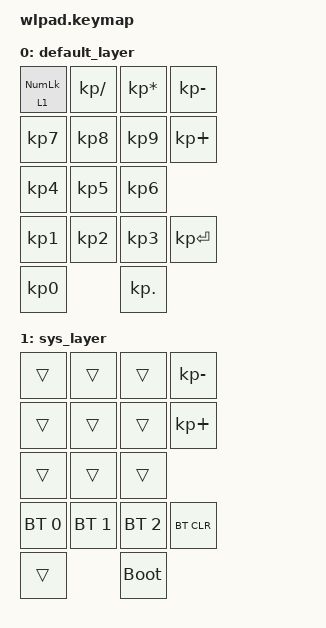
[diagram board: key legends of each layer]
/*
 * Copyright (c) 2022 The ZMK Contributors
 *
 * SPDX-License-Identifier: MIT
 */

#include <behaviors.dtsi>
#include <dt-bindings/zmk/keys.h>
#include <dt-bindings/zmk/bt.h>
#include <dt-bindings/zmk/outputs.h>

/ {
	keymap {
		compatible = "zmk,keymap";

		default_layer {
// ---------------------------------
// | NmLk  | /     | *     | -     |
// | 7     | 8     | 9     | +     |
// | 4     | 5     | 6     |       |
// | 1     | 2     | 3     | ENTER |
// | 0             | .     |       |

			bindings = <
    &lt 1 KP_NUM            &kp KP_DIVIDE    &kp KP_MULTIPLY    &kp KP_MINUS
    &kp KP_N7               &kp KP_N8        &kp KP_N9          &kp KP_PLUS
    &kp KP_N4               &kp KP_N5        &kp KP_N6
    &kp KP_N1               &kp KP_N2        &kp KP_N3          &kp KP_ENTER
    &kp KP_N0                                &kp KP_DOT
			>;
		};

		sys_layer {
// ---------------------------------
// | NmLk  |       |       |       |
// |       |       |       |       |
// |       |       |       |       |
// | BT 0  | BT 1  | BT 2  | CLEAR |
// |               | boot  |       |

			bindings = <
    &trans                  &trans           &trans             &kp KP_MINUS
    &trans                  &trans           &trans             &kp KP_PLUS
    &trans                  &trans           &trans
    &bt BT_SEL 0            &bt BT_SEL 1     &bt BT_SEL 2       &bt BT_CLR
    &trans                                   &bootloader
			>;
		};
	};
};
